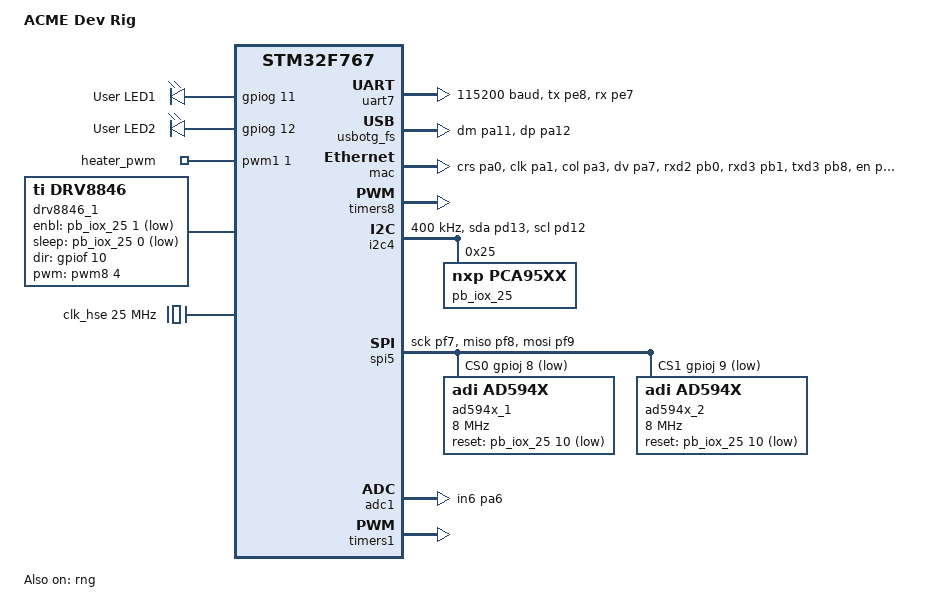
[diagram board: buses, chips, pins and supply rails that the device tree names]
/dts-v1/;
#include <st/f7/stm32f767Xi.dtsi>
#include <st/f7/stm32f777nihx-pinctrl.dtsi>

/ {
    model = "ACME Dev Rig";
    compatible = "acme,dev-rig", "st,stm32f767";

    chosen {
        zephyr,console = &uart7;
        zephyr,shell-uart = &uart7;
        zephyr,usb-device = &usbotg_fs;
        zephyr,sram = &sram0;
        zephyr,flash = &flash0;
        zephyr,dtcm = &dtcm;
    };

    leds {
        compatible = "gpio-leds";
        led_1: led_1 {
            gpios = <&gpiog 11 GPIO_ACTIVE_HIGH>;
            label = "User LED1";
        };
        led_2: led_2 {
            gpios = <&gpiog 12 GPIO_ACTIVE_HIGH>;
            label = "User LED2";
        };
    };

    aliases {
        led0 = &led_1; // alias is used by blinky and other demos
        led1 = &led_2;
    };

    io-channels =   <0>,     //AFE channel 1 not connected to any ADC.
    <0>,             //AFE channel 2 not connected to any ADC.
    <0>,             //AFE channel 3 not connected to any ADC.
    <&ad594x_1 2>,   //AFE channel 4.
    <&ad594x_1 1>,   //AFE channel 5.
    <&ad594x_1 0>,   //AFE channel 6.
    <&ad594x_2 2>,   //AFE channel 7.
    <&ad594x_2 1>,   //AFE channel 8.
    <&ad594x_2 0>,   //AFE channel 9.
    ;

    afe-detect-adc-channel = <11>;
    afe-mode-muxer-gpios = <&pb_iox_25 8 GPIO_ACTIVE_HIGH>,
                           <&pb_iox_25 9 GPIO_ACTIVE_HIGH>;

    motor-power-gpios = <&pb_iox_25 2 GPIO_ACTIVE_HIGH>;
    motor-pos-gpios = <&gpioa 4 GPIO_ACTIVE_HIGH>,
                      <&gpioa 5 GPIO_ACTIVE_HIGH>;
    motor-ctl = &drv8846_1;

    heater-thermistor-channel = <6>;
    heater-warm-gpios = <&pb_iox_25 6 GPIO_ACTIVE_HIGH>;
    heater-power-gpios = <&pb_iox_25 7 GPIO_ACTIVE_HIGH>;
    heater-thermistor-adc = &adc1;
    heater-pwm = &heater_pwm;

    heater {
        compatible = "pwm-leds";
        heater_pwm: heater_pwm {
            pwms = <&pwm1 1 0 PWM_POLARITY_NORMAL>;
        };
    };

    drv8846_1 {
        compatible = "ti,drv8846";
        status = "okay";
        enbl-gpios = <&pb_iox_25 1 GPIO_ACTIVE_LOW>;
        sleep-gpios = <&pb_iox_25 0 GPIO_ACTIVE_LOW>;
        dir-gpios = <&gpiof 10 GPIO_ACTIVE_HIGH>;

        pwms = <&pwm8 4 0 PWM_POLARITY_NORMAL>; // PC9 TIM3_CH4 TIM8_CH4
    };

};

&clk_hse {
    hse-bypass;
    clock-frequency = <DT_FREQ_M(25)>;
    status = "okay";
};

&pll {
    div-m = <25>;
    mul-n = <432>;
    div-p = <2>;
    div-q = <9>;
    clocks = <&clk_hse>;
    status = "okay";
};

&rcc {
    clocks = <&pll>;
    clock-frequency = <DT_FREQ_M(216)>;
    ahb-prescaler = <1>;
    apb1-prescaler = <4>;
    apb2-prescaler = <2>;
};

&rng {
    status = "okay";
};

&uart7 {
    current-speed = <115200>;
    status = "okay";
    pinctrl-0 = <&uart7_tx_pe8 &uart7_rx_pe7 /*&uart7_cts_pe10 &uart7_rts_pe9*/>;
};

&usbotg_fs {
    status = "okay";
    pinctrl-0 = <&usb_otg_fs_dm_pa11 &usb_otg_fs_dp_pa12>;
};

&mac {
    status = "okay";
    pinctrl-0 = <
    &eth_crs_pa0
    &eth_rx_clk_pa1
    &eth_col_pa3
    &eth_rx_dv_pa7
    &eth_rxd2_pb0
    &eth_rxd3_pb1
    &eth_txd3_pb8
    &eth_tx_en_pb11
    &eth_txd0_pg13
    &eth_txd1_pg14
    &eth_txd2_pc2
    &eth_tx_clk_pc3
    &eth_rxd0_pc4
    &eth_rxd1_pc5
    &eth_mdc_pc1
    &eth_mdio_pa2
    &eth_rx_er_pi10>;
};


&timers8 {
    status = "okay";

    pwm8: pwm {
        status = "okay";
        pinctrl-0 = <&tim8_ch4_pc9>;
        st,prescaler = <215>; // Sets PWM frequency to 1 MHz
    };
};

&i2c4 {
    status = "okay";
    pinctrl-0 = <&i2c4_sda_pd13 &i2c4_scl_pd12>;
    clock-frequency = <I2C_BITRATE_FAST>;

    pb_iox_25: pca9535@25 {
        compatible = "nxp,pca95xx";
        reg = <0x25>;
        #gpio-cells = <2>;
        gpio-controller;

        status = "okay";
    };
};

&spi5 {
    status = "okay";
    pinctrl-0 = <&spi5_sck_pf7 &spi5_miso_pf8 &spi5_mosi_pf9>;
    cs-gpios = <&gpioj 8 GPIO_ACTIVE_LOW>,
               <&gpioj 9 GPIO_ACTIVE_LOW>,;

    ad594x_1: ad594x_1@0 {
        compatible = "adi,ad594x";
        status = "okay";
        reg = <0x0>;
        spi-max-frequency = <8000000>; // 8 MHz
        #io-channel-cells = <1>;
        reset-gpios = <&pb_iox_25 10 GPIO_ACTIVE_LOW>;

        ad594x_1_gpio: gpio {
            compatible = "adi,ad594x-gpio";
            status = "okay";
            gpio-controller;
            #gpio-cells = <2>;
        };
    };

    ad594x_2: ad594x_2@1 {
        compatible = "adi,ad594x";
        status = "okay";
        reg = <0x1>;
        spi-max-frequency = <8000000>; // 8 MHz
        #io-channel-cells = <1>;
        reset-gpios = <&pb_iox_25 10 GPIO_ACTIVE_LOW>;

        ad594x_2_gpio: gpio {
            compatible = "adi,ad594x-gpio";
            status = "okay";
            gpio-controller;
            #gpio-cells = <2>;
        };
    };

};

&adc1 {
    status = "okay";
    pinctrl-0 = <&adc1_in6_pa6>;
};

&timers1 {
    status = "okay";

    pwm1: pwm {
        status = "okay";
        pinctrl-0 = <&tim1_ch1_pa8>;
        st,prescaler = <9>; // Sets PWM frequency to 21.6 MHz
    };
};
